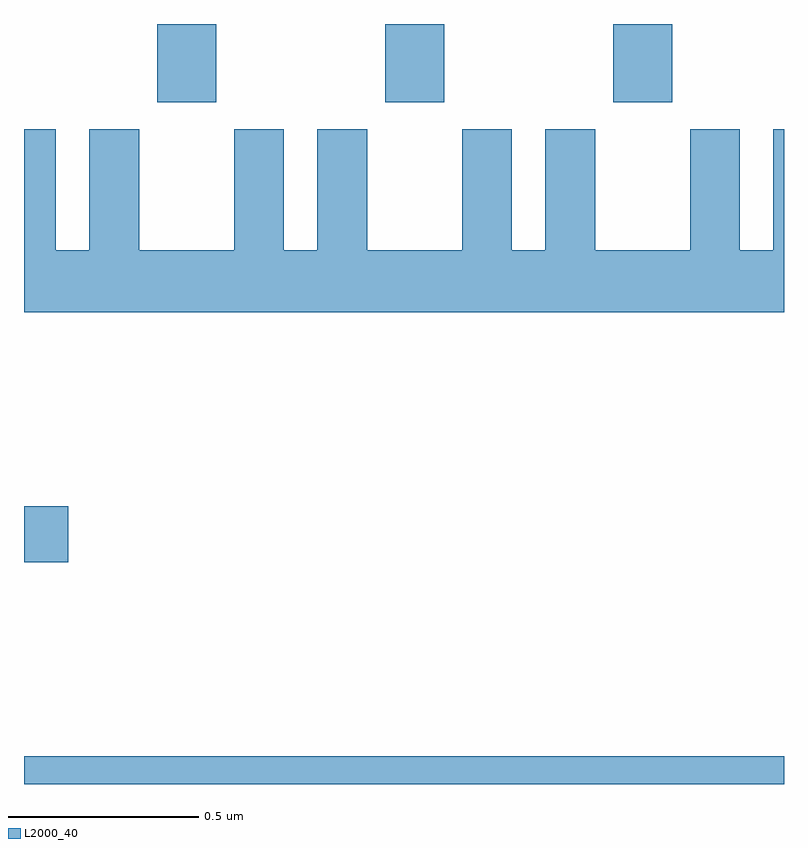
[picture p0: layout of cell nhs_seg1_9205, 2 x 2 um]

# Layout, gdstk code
import gdstk
lib = gdstk.Library(unit=1e-6, precision=1e-09)
def R(c, l, rs):  # rectangles x0, y0, x1, y1
    for r in rs: c.add(gdstk.rectangle(r[:2], r[2:], *l))
def A(c, l, x, y, w, h, nx, ny, dx, dy):  # array of equal rectangles
    R(c, l, [(x+i*dx, y+j*dy, x+i*dx+w, y+j*dy+h) for i in range(nx) for j in range(ny)])
def P(c, l, *ps):  # polygons
    for p in ps: c.add(gdstk.Polygon(p, *l))
L2000_40 = (2000, 40)

nhs_seg1_9205 = lib.new_cell('nhs_seg1_9205')
A(nhs_seg1_9205, L2000_40, 226.351, 510.993, 0.155, 0.206, 3, 1, 0.6, 0)
R(nhs_seg1_9205, L2000_40, [(226,509.199,228,509.272), (226,509.783,226.117,509.93)])
P(nhs_seg1_9205, L2000_40, [(228,510.922),(227.972,510.922),(227.972,510.604),(227.884,510.604),(227.884,510.922),(227.753,510.922),(227.753,510.604),(227.503,510.604),(227.503,510.922),(227.372,510.922),(227.372,510.604),(227.284,510.604),(227.284,510.922),(227.153,510.922),(227.153,510.604),(226.903,510.604),(226.903,510.922),(226.772,510.922),(226.772,510.604),(226.684,510.604),(226.684,510.922),(226.553,510.922),(226.553,510.604),(226.303,510.604),(226.303,510.922),(226.172,510.922),(226.172,510.604),(226.084,510.604),(226.084,510.922),(226,510.922),(226,510.44),(228,510.44)])

lib.write_gds('nhs_seg1_9205.gds')
